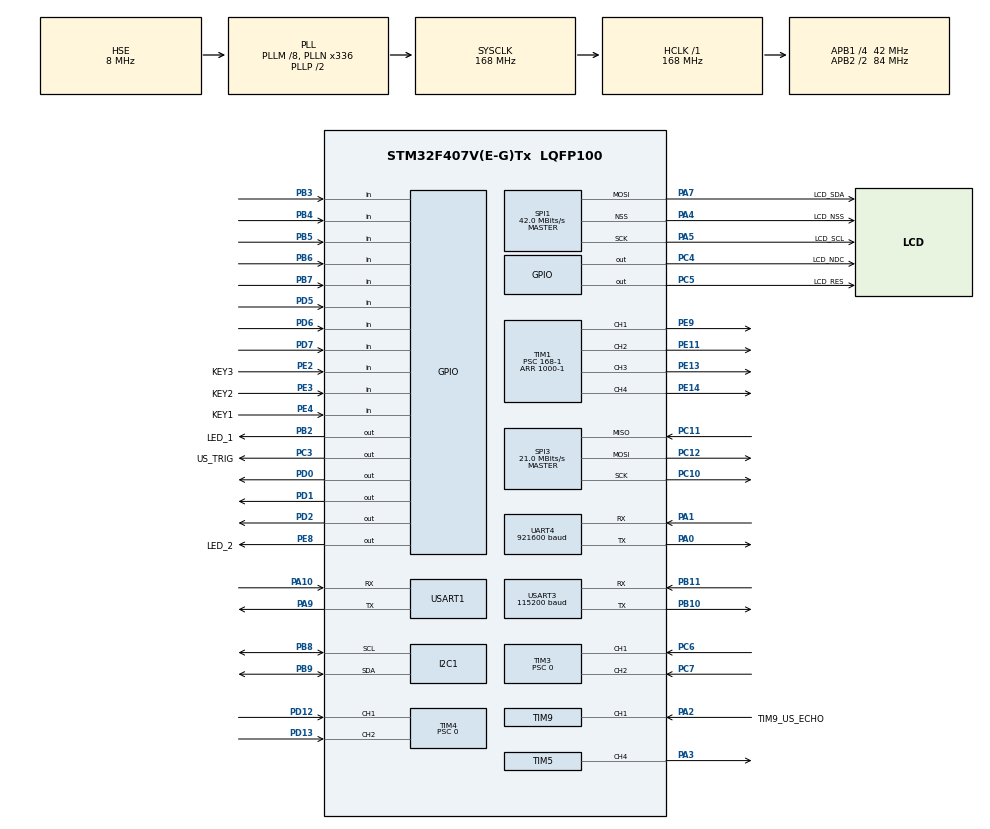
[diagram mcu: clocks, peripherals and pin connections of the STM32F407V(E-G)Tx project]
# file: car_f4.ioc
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Dma.Request0=UART4_RX
Dma.Request1=UART4_TX
Dma.Request2=USART1_RX
Dma.Request3=USART1_TX
Dma.Request4=USART3_RX
Dma.Request5=USART3_TX
Dma.Request6=SPI1_TX
Dma.SPI1_TX.6.Direction=DMA_MEMORY_TO_PERIPH
Dma.SPI1_TX.6.FIFOMode=DMA_FIFOMODE_DISABLE
Dma.SPI1_TX.6.Instance=DMA2_Stream3
Dma.SPI1_TX.6.MemDataAlignment=DMA_MDATAALIGN_BYTE
Dma.SPI1_TX.6.MemInc=DMA_MINC_ENABLE
Dma.SPI1_TX.6.Mode=DMA_NORMAL
Dma.SPI1_TX.6.PeriphDataAlignment=DMA_PDATAALIGN_BYTE
Dma.SPI1_TX.6.PeriphInc=DMA_PINC_DISABLE
Dma.SPI1_TX.6.Priority=DMA_PRIORITY_LOW
Dma.UART4_RX.0.Direction=DMA_PERIPH_TO_MEMORY
Dma.UART4_RX.0.FIFOMode=DMA_FIFOMODE_DISABLE
Dma.UART4_RX.0.Instance=DMA1_Stream2
Dma.UART4_RX.0.MemDataAlignment=DMA_MDATAALIGN_BYTE
Dma.UART4_RX.0.MemInc=DMA_MINC_ENABLE
Dma.UART4_RX.0.Mode=DMA_NORMAL
Dma.UART4_RX.0.PeriphDataAlignment=DMA_PDATAALIGN_BYTE
Dma.UART4_RX.0.PeriphInc=DMA_PINC_DISABLE
Dma.UART4_RX.0.Priority=DMA_PRIORITY_LOW
Dma.UART4_TX.1.Direction=DMA_MEMORY_TO_PERIPH
Dma.UART4_TX.1.FIFOMode=DMA_FIFOMODE_ENABLE
Dma.UART4_TX.1.FIFOThreshold=DMA_FIFO_THRESHOLD_HALFFULL
Dma.UART4_TX.1.Instance=DMA1_Stream4
Dma.UART4_TX.1.MemBurst=DMA_MBURST_SINGLE
Dma.UART4_TX.1.MemDataAlignment=DMA_MDATAALIGN_BYTE
Dma.UART4_TX.1.MemInc=DMA_MINC_ENABLE
Dma.UART4_TX.1.Mode=DMA_NORMAL
Dma.UART4_TX.1.PeriphBurst=DMA_PBURST_SINGLE
Dma.UART4_TX.1.PeriphDataAlignment=DMA_PDATAALIGN_BYTE
Dma.UART4_TX.1.PeriphInc=DMA_PINC_DISABLE
Dma.UART4_TX.1.Priority=DMA_PRIORITY_LOW
Dma.USART1_RX.2.Direction=DMA_PERIPH_TO_MEMORY
Dma.USART1_RX.2.FIFOMode=DMA_FIFOMODE_DISABLE
Dma.USART1_RX.2.Instance=DMA2_Stream2
Dma.USART1_RX.2.MemDataAlignment=DMA_MDATAALIGN_BYTE
Dma.USART1_RX.2.MemInc=DMA_MINC_ENABLE
Dma.USART1_RX.2.Mode=DMA_NORMAL
Dma.USART1_RX.2.PeriphDataAlignment=DMA_PDATAALIGN_BYTE
Dma.USART1_RX.2.PeriphInc=DMA_PINC_DISABLE
Dma.USART1_RX.2.Priority=DMA_PRIORITY_LOW
Dma.USART1_TX.3.Direction=DMA_MEMORY_TO_PERIPH
Dma.USART1_TX.3.FIFOMode=DMA_FIFOMODE_ENABLE
Dma.USART1_TX.3.FIFOThreshold=DMA_FIFO_THRESHOLD_HALFFULL
Dma.USART1_TX.3.Instance=DMA2_Stream7
Dma.USART1_TX.3.MemBurst=DMA_MBURST_SINGLE
Dma.USART1_TX.3.MemDataAlignment=DMA_MDATAALIGN_BYTE
Dma.USART1_TX.3.MemInc=DMA_MINC_ENABLE
Dma.USART1_TX.3.Mode=DMA_NORMAL
Dma.USART1_TX.3.PeriphBurst=DMA_PBURST_SINGLE
Dma.USART1_TX.3.PeriphDataAlignment=DMA_PDATAALIGN_BYTE
Dma.USART1_TX.3.PeriphInc=DMA_PINC_DISABLE
Dma.USART1_TX.3.Priority=DMA_PRIORITY_LOW
Dma.USART3_RX.4.Direction=DMA_PERIPH_TO_MEMORY
Dma.USART3_RX.4.FIFOMode=DMA_FIFOMODE_DISABLE
Dma.USART3_RX.4.Instance=DMA1_Stream1
Dma.USART3_RX.4.MemDataAlignment=DMA_MDATAALIGN_BYTE
Dma.USART3_RX.4.MemInc=DMA_MINC_ENABLE
Dma.USART3_RX.4.Mode=DMA_NORMAL
Dma.USART3_RX.4.PeriphDataAlignment=DMA_PDATAALIGN_BYTE
Dma.USART3_RX.4.PeriphInc=DMA_PINC_DISABLE
Dma.USART3_RX.4.Priority=DMA_PRIORITY_LOW
Dma.USART3_TX.5.Direction=DMA_MEMORY_TO_PERIPH
Dma.USART3_TX.5.FIFOMode=DMA_FIFOMODE_ENABLE
Dma.USART3_TX.5.FIFOThreshold=DMA_FIFO_THRESHOLD_HALFFULL
Dma.USART3_TX.5.Instance=DMA1_Stream3
Dma.USART3_TX.5.MemBurst=DMA_MBURST_SINGLE
Dma.USART3_TX.5.MemDataAlignment=DMA_MDATAALIGN_BYTE
Dma.USART3_TX.5.MemInc=DMA_MINC_ENABLE
Dma.USART3_TX.5.Mode=DMA_NORMAL
Dma.USART3_TX.5.PeriphBurst=DMA_PBURST_SINGLE
Dma.USART3_TX.5.PeriphDataAlignment=DMA_PDATAALIGN_BYTE
Dma.USART3_TX.5.PeriphInc=DMA_PINC_DISABLE
Dma.USART3_TX.5.Priority=DMA_PRIORITY_LOW
I2C1.I2C_Mode=I2C_Fast
Mcu.Family=STM32F4
Mcu.Name=STM32F407V(E-G)Tx
Mcu.Package=LQFP100
NVIC.DMA1_Stream1_IRQn=true\:5\:0\:false\:false\:true\:true\:false\:true\:true
NVIC.DMA1_Stream2_IRQn=true\:5\:0\:false\:false\:true\:true\:false\:true\:true
NVIC.DMA1_Stream3_IRQn=true\:5\:0\:false\:false\:true\:true\:false\:true\:true
NVIC.DMA1_Stream4_IRQn=true\:5\:0\:false\:false\:true\:true\:false\:true\:true
NVIC.DMA2_Stream2_IRQn=true\:5\:0\:false\:false\:true\:true\:false\:true\:true
NVIC.DMA2_Stream3_IRQn=true\:5\:0\:false\:false\:true\:true\:false\:true\:true
NVIC.DMA2_Stream7_IRQn=true\:5\:0\:false\:false\:true\:true\:false\:true\:true
NVIC.PriorityGroup=NVIC_PRIORITYGROUP_4
NVIC.TIM1_BRK_TIM9_IRQn=true\:5\:0\:false\:false\:true\:true\:true\:true\:true
NVIC.TIM8_UP_TIM13_IRQn=true\:15\:0\:false\:false\:true\:false\:false\:true\:true
NVIC.TimeBase=TIM8_UP_TIM13_IRQn
NVIC.TimeBaseIP=TIM8
NVIC.UART4_IRQn=true\:5\:0\:false\:false\:true\:true\:true\:true\:true
NVIC.USART1_IRQn=true\:5\:0\:false\:false\:true\:true\:true\:true\:true
NVIC.USART3_IRQn=true\:5\:0\:false\:false\:true\:true\:true\:true\:true
PA0-WKUP.Mode=Asynchronous
PA0-WKUP.Signal=UART4_TX
PA1.Mode=Asynchronous
PA1.Signal=UART4_RX
PA10.Mode=Asynchronous
PA10.Signal=USART1_RX
PA13.Mode=Serial_Wire
PA13.Signal=SYS_JTMS-SWDIO
PA14.Mode=Serial_Wire
PA14.Signal=SYS_JTCK-SWCLK
PA2.GPIO_Label=TIM9_US_ECHO
PA2.Signal=S_TIM9_CH1
PA3.Signal=S_TIM5_CH4
PA4.GPIO_Label=LCD_NSS
PA4.Mode=NSS_Signal_Hard_Output
PA4.Signal=SPI1_NSS
PA5.GPIO_Label=LCD_SCL
PA5.Mode=TX_Only_Simplex_Unidirect_Master
PA5.Signal=SPI1_SCK
PA7.GPIO_Label=LCD_SDA
PA7.Mode=TX_Only_Simplex_Unidirect_Master
PA7.Signal=SPI1_MOSI
PA9.Mode=Asynchronous
PA9.Signal=USART1_TX
PB10.Mode=Asynchronous
PB10.Signal=USART3_TX
PB11.Mode=Asynchronous
PB11.Signal=USART3_RX
PB2.GPIO_Label=LED_1
PB2.Signal=GPIO_Output
PB3.GPIO_PuPd=GPIO_PULLUP
PB3.Signal=GPIO_Input
PB4.GPIO_PuPd=GPIO_PULLUP
PB4.Signal=GPIO_Input
PB5.GPIO_PuPd=GPIO_PULLUP
PB5.Signal=GPIO_Input
PB6.GPIO_PuPd=GPIO_PULLUP
PB6.Signal=GPIO_Input
PB7.GPIO_PuPd=GPIO_PULLUP
PB7.Signal=GPIO_Input
PB8.Mode=I2C
PB8.Signal=I2C1_SCL
PB9.Mode=I2C
PB9.Signal=I2C1_SDA
PC10.Mode=Full_Duplex_Master
PC10.Signal=SPI3_SCK
PC11.Mode=Full_Duplex_Master
PC11.Signal=SPI3_MISO
PC12.Mode=Full_Duplex_Master
PC12.Signal=SPI3_MOSI
PC3.GPIO_Label=US_TRIG
PC3.Signal=GPIO_Output
PC4.GPIO_Label=LCD_NDC
PC4.Signal=GPIO_Output
PC5.GPIO_Label=LCD_RES
PC5.Signal=GPIO_Output
PC6.Signal=S_TIM3_CH1
PC7.Signal=S_TIM3_CH2
PD0.Signal=GPIO_Output
PD1.Signal=GPIO_Output
PD12.Signal=S_TIM4_CH1
PD13.Signal=S_TIM4_CH2
PD2.Signal=GPIO_Output
PD5.Signal=GPIO_Input
PD6.GPIO_PuPd=GPIO_PULLUP
PD6.Signal=GPIO_Input
PD7.GPIO_PuPd=GPIO_PULLUP
PD7.Signal=GPIO_Input
PE11.Signal=S_TIM1_CH2
PE13.Signal=S_TIM1_CH3
PE14.Signal=S_TIM1_CH4
PE2.GPIO_Label=KEY3
PE2.Signal=GPIO_Input
PE3.GPIO_Label=KEY2
PE3.Signal=GPIO_Input
PE4.GPIO_Label=KEY1
PE4.Signal=GPIO_Input
PE8.GPIO_Label=LED_2
PE8.Signal=GPIO_Output
PE9.Signal=S_TIM1_CH1
PH0-OSC_IN.Mode=HSE-External-Oscillator
PH0-OSC_IN.Signal=RCC_OSC_IN
PH1-OSC_OUT.Mode=HSE-External-Oscillator
PH1-OSC_OUT.Signal=RCC_OSC_OUT
ProjectManager.HeapSize=0x400
ProjectManager.StackSize=0x400
ProjectManager.TargetToolchain=MDK-ARM V5.32
RCC.48MHZClocksFreq_Value=67200000
RCC.AHBFreq_Value=168000000
RCC.APB1CLKDivider=RCC_HCLK_DIV4
RCC.APB1Freq_Value=42000000
RCC.APB1TimFreq_Value=84000000
RCC.APB2CLKDivider=RCC_HCLK_DIV2
RCC.APB2Freq_Value=84000000
RCC.APB2TimFreq_Value=168000000
RCC.CortexFreq_Value=168000000
RCC.HCLKFreq_Value=168000000
RCC.HSE_VALUE=8000000
RCC.HSI_VALUE=16000000
RCC.LSE_VALUE=32768
RCC.PLLM=8
RCC.PLLN=336
RCC.PLLQ=5
RCC.PLLSourceVirtual=RCC_PLLSOURCE_HSE
RCC.SYSCLKFreq_VALUE=168000000
RCC.SYSCLKSource=RCC_SYSCLKSOURCE_PLLCLK
RCC.VCOOutputFreq_Value=336000000
SH.S_TIM1_CH1.0=TIM1_CH1,PWM Generation1 CH1
SH.S_TIM1_CH2.0=TIM1_CH2,PWM Generation2 CH2
SH.S_TIM1_CH3.0=TIM1_CH3,PWM Generation3 CH3
SH.S_TIM1_CH4.0=TIM1_CH4,PWM Generation4 CH4
SH.S_TIM3_CH1.0=TIM3_CH1,Encoder_Interface
SH.S_TIM3_CH2.0=TIM3_CH2,Encoder_Interface
SH.S_TIM4_CH1.0=TIM4_CH1,Encoder_Interface
SH.S_TIM4_CH2.0=TIM4_CH2,Encoder_Interface
SH.S_TIM5_CH4.0=TIM5_CH4,PWM Generation4 CH4
SH.S_TIM9_CH1.0=TIM9_CH1,Input_Capture1_from_TI1
SPI1.BaudRatePrescaler=SPI_BAUDRATEPRESCALER_2
SPI1.CalculateBaudRate=42.0 MBits/s
SPI1.Direction=SPI_DIRECTION_2LINES
SPI1.Mode=SPI_MODE_MASTER
SPI1.VirtualNSS=VM_NSSHARD
SPI1.VirtualType=VM_MASTER
SPI3.CalculateBaudRate=21.0 MBits/s
SPI3.Direction=SPI_DIRECTION_2LINES
SPI3.Mode=SPI_MODE_MASTER
SPI3.VirtualType=VM_MASTER
TIM1.AutoReloadPreload=TIM_AUTORELOAD_PRELOAD_ENABLE
TIM1.Channel-PWM\ Generation1\ CH1=TIM_CHANNEL_1
TIM1.Channel-PWM\ Generation2\ CH2=TIM_CHANNEL_2
TIM1.Channel-PWM\ Generation3\ CH3=TIM_CHANNEL_3
TIM1.Channel-PWM\ Generation4\ CH4=TIM_CHANNEL_4
TIM1.Period=1000-1
TIM1.Prescaler=168-1
TIM3.AutoReloadPreload=TIM_AUTORELOAD_PRELOAD_ENABLE
TIM3.EncoderMode=TIM_ENCODERMODE_TI12
TIM3.Prescaler=0
TIM4.AutoReloadPreload=TIM_AUTORELOAD_PRELOAD_ENABLE
TIM4.EncoderMode=TIM_ENCODERMODE_TI12
TIM4.Prescaler=0
TIM5.AutoReloadPreload=TIM_AUTORELOAD_PRELOAD_ENABLE
TIM5.Channel-PWM\ Generation4\ CH4=TIM_CHANNEL_4
TIM5.Period=1000
TIM5.Prescaler=168-1
TIM9.Channel-Input_Capture1_from_TI1=TIM_CHANNEL_1
TIM9.Channel-Input_Capture2_from_TI1_63=TIM_CHANNEL_2
TIM9.ICPolarity_CH2=TIM_INPUTCHANNELPOLARITY_FALLING
TIM9.Prescaler=0
UART4.BaudRate=921600
UART4.VirtualMode=Asynchronous
USART1.VirtualMode=VM_ASYNC
USART3.BaudRate=115200
USART3.VirtualMode=VM_ASYNC
VP_SYS_VS_tim8.Mode=TIM8
VP_TIM9_VS_indirect_ch1.Mode=Input_Capture2_from_TI1_63
board=custom

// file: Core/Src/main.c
/* USER CODE BEGIN Header */
/**
  ******************************************************************************
  * @file           : main.c
  * @brief          : Main program body
  ******************************************************************************
  * @attention
  *
  * Copyright (c) 2026 STMicroelectronics.
  * All rights reserved.
  *
  * This software is licensed under terms that can be found in the LICENSE file
  * in the root directory of this software component.
  * If no LICENSE file comes with this software, it is provided AS-IS.
  *
  ******************************************************************************
  */
/* USER CODE END Header */
#include "main.h"
#include "dma.h"
#include "i2c.h"
#include "spi.h"
#include "tim.h"
#include "usart.h"
#include "gpio.h"

/* USER CODE BEGIN Includes */
#include "motor.h"
#include "pidmotor.h"
#include "pidtrack.h"
#include "uart.h"
#include "key.h"
#include "mission.h"
#include "hwt101.h"
#include "hcsr04.h"
/* USER CODE END Includes */

/* USER CODE BEGIN PD */
#define ULTRASONIC_ENABLED 0
/* USER CODE END PD */

/* USER CODE BEGIN PV */
static uint32_t pidtrack_last_tick;
static uint32_t key_last_tick;
#if ULTRASONIC_ENABLED
static uint32_t obstacle_last_tick;
#endif
static uint8_t pidtrack_was_enabled;
// static volatile uint8_t key_scan_enabled;
static volatile int pidmotor_enable=0;
static volatile int pidtrack_enable=0;

/* USER CODE END PV */

void SystemClock_Config(void);

int main(void)
{

  /* MCU Configuration--------------------------------------------------------*/

  /* Reset of all peripherals, Initializes the Flash interface and the Systick. */
  HAL_Init();

  /* Configure the system clock */
  SystemClock_Config();

  /* Initialize all configured peripherals */
  MX_GPIO_Init();
  MX_DMA_Init();
  MX_SPI1_Init();
  MX_SPI3_Init();
  MX_I2C1_Init();
  MX_TIM3_Init();
  MX_USART1_UART_Init();
  MX_TIM1_Init();
  MX_TIM4_Init();
  MX_USART3_UART_Init();
  MX_TIM9_Init();
  MX_UART4_Init();
  MX_TIM5_Init();
  /* USER CODE BEGIN 2 */
  if (hwt101_init(&huart3) != HAL_OK)
  {
    Error_Handler();
  }
#if ULTRASONIC_ENABLED
  if (hcsr04_init() != HAL_OK)
  {
    Error_Handler();
  }
#endif
  key_init();
  // key_scan_enabled = 1U;
  if (motor_init() != HAL_OK)
  {
    Error_Handler();
  }

  if (encoder_init() != HAL_OK)
  {
    Error_Handler();
  }
  if (gray_init() != HAL_OK)
  {
    Error_Handler();
  }
  pidtrack_last_tick=HAL_GetTick();
  key_last_tick=pidtrack_last_tick;
#if ULTRASONIC_ENABLED
  obstacle_last_tick=pidtrack_last_tick;
#endif
  encoder_init();
  pidmotor_init();
  pidmotor_enable=1;
  pidtrack_enable=1;
  /* USER CODE END 2 */

  /* Infinite loop */
  while (1)
  {

    /* USER CODE BEGIN 3 */
#if ULTRASONIC_ENABLED
    if ((HAL_GetTick() - obstacle_last_tick) >= 10U)
    {
      obstacle_last_tick = HAL_GetTick();
      obstacle_check();
    }
#endif
    if (pidtrack_enable != 0)
    {
      if (pidtrack_was_enabled == 0U)
      {
        mission_reset();
        pidtrack_last_tick = HAL_GetTick();
        pidtrack_was_enabled = 1U;
      }
      if ((HAL_GetTick() - pidtrack_last_tick) >= 1U)
      {
        pidtrack_last_tick = HAL_GetTick();
        mission_update(key_getmode());
        track_report();
      }
    }
    else if (pidtrack_was_enabled != 0U)
    {
      set_target(0, 0);
      pidtrack_was_enabled = 0U;
    }
    if ((HAL_GetTick() - key_last_tick) >= 5U)
    {
      key_last_tick = HAL_GetTick();
      key_tick5ms();
    }
    //uart_report_pidmotor();
  }
  /* USER CODE END 3 */
}

void SystemClock_Config(void)
{
  RCC_OscInitTypeDef RCC_OscInitStruct = {0};
  RCC_ClkInitTypeDef RCC_ClkInitStruct = {0};

  /** Configure the main internal regulator output voltage
  */
  __HAL_RCC_PWR_CLK_ENABLE();
  __HAL_PWR_VOLTAGESCALING_CONFIG(PWR_REGULATOR_VOLTAGE_SCALE1);

  /** Initializes the RCC Oscillators according to the specified parameters
  * in the RCC_OscInitTypeDef structure.
  */
  RCC_OscInitStruct.OscillatorType = RCC_OSCILLATORTYPE_HSE;
  RCC_OscInitStruct.HSEState = RCC_HSE_ON;
  RCC_OscInitStruct.PLL.PLLState = RCC_PLL_ON;
  RCC_OscInitStruct.PLL.PLLSource = RCC_PLLSOURCE_HSE;
  RCC_OscInitStruct.PLL.PLLM = 8;
  RCC_OscInitStruct.PLL.PLLN = 336;
  RCC_OscInitStruct.PLL.PLLP = RCC_PLLP_DIV2;
  RCC_OscInitStruct.PLL.PLLQ = 5;
  if (HAL_RCC_OscConfig(&RCC_OscInitStruct) != HAL_OK)
  {
    Error_Handler();
  }

  /** Initializes the CPU, AHB and APB buses clocks
  */
  RCC_ClkInitStruct.ClockType = RCC_CLOCKTYPE_HCLK|RCC_CLOCKTYPE_SYSCLK
                              |RCC_CLOCKTYPE_PCLK1|RCC_CLOCKTYPE_PCLK2;
  RCC_ClkInitStruct.SYSCLKSource = RCC_SYSCLKSOURCE_PLLCLK;
  RCC_ClkInitStruct.AHBCLKDivider = RCC_SYSCLK_DIV1;
  RCC_ClkInitStruct.APB1CLKDivider = RCC_HCLK_DIV4;
  RCC_ClkInitStruct.APB2CLKDivider = RCC_HCLK_DIV2;

  if (HAL_RCC_ClockConfig(&RCC_ClkInitStruct, FLASH_LATENCY_5) != HAL_OK)
  {
    Error_Handler();
  }
}

void HAL_TIM_PeriodElapsedCallback(TIM_HandleTypeDef *htim)
{
  if (htim->Instance == TIM8)
  {
    HAL_IncTick();
    hwt101_turn_tick1ms();
    // if (key_scan_enabled && (HAL_GetTick() % 5U) == 0U)
    // {
    //   key_tick5ms();
    // }
    /* USER CODE BEGIN TIM8_PID */
    if(pidmotor_enable&&(HAL_GetTick() % 10U) == 0)
    {
      pidmotor_update();
    }
    /* USER CODE END TIM8_PID */
  }
}

void Error_Handler(void)
{
  __disable_irq();
  while (1)
  {
  }
}
